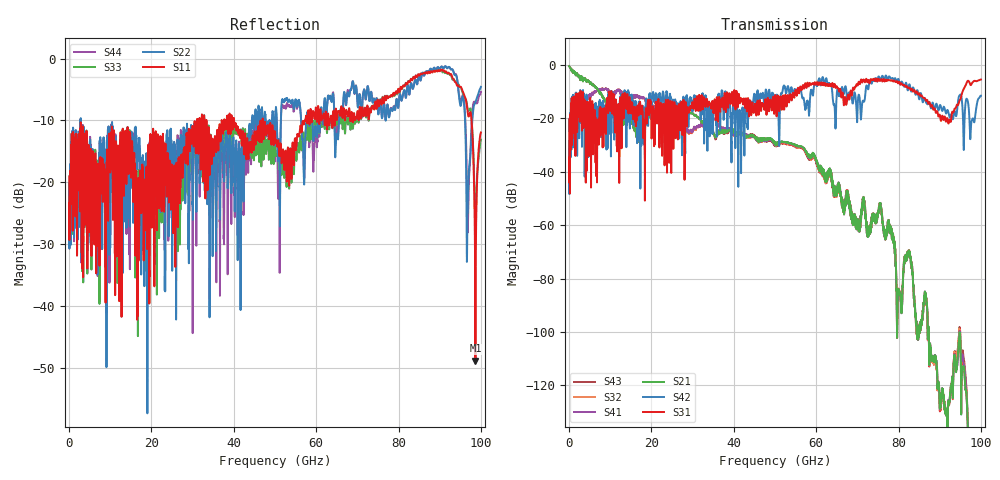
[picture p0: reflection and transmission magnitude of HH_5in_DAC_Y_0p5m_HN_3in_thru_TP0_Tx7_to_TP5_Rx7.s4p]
# GHz S RI R 45
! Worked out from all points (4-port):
!   4000 points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, 25 MHz to 100 GHz, reference 45 ohm
!   strongest paths, dB at 25 MHz, 25.02 GHz, 50.02 GHz, 75.03 GHz, 100 GHz:
!     S31: -35.0, -14.2, -12.3, -5.7, -5.4
!     S42: -34.9, -18.5, -12.5, -4.7, -11.5
!     S21: -0.4, -17.5, -29.2, -55.7, -179.6
!     S41: -45.7, -20.4, -29.4, -55.7, -181.2
!     S32: -45.7, -20.7, -29.4, -55.7, -180.9
!     S43: -0.4, -17.6, -29.7, -55.7, -173.2
!   lowest |S11| = -48.9 dB at 98.67 GHz (marker M1), VSWR 1.01, Z = 45.3 + j0.0119 ohm
!   |S11| at or under -10 dB: start of sweep to 31.08 GHz; 40.08 GHz to 46.98 GHz (6.906 GHz wide, 15.9 % of centre); 47.06 GHz to 57.38 GHz (10.32 GHz wide, 19.8 % of centre)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
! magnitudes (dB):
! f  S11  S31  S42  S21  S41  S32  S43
! 25 MHz  -23.9  -35.0  -34.9  -0.4  -45.7  -45.7  -0.4
! 2.35 GHz  -13.3  -12.4  -18.8  -4.3  -13.7  -13.7  -4.3
! 11.95 GHz  -19.4  -19.1  -18.4  -20.3  -9.2  -9.2  -20.3
! 56.6 GHz  -10.9  -8.6  -12.2  -30.6  -30.7  -31.0  -31.1
! 90.65 GHz  -2.0  -19.0  -17.2  -122.3  -122.4  -122.4  -122.5
! 98.67 GHz  -48.9  -6.0  -18.4  -153.9  -153.4  -149.5  -150.3
! 100 GHz  -12.0  -5.4  -11.5  -179.6  -181.2  -180.9  -173.2
